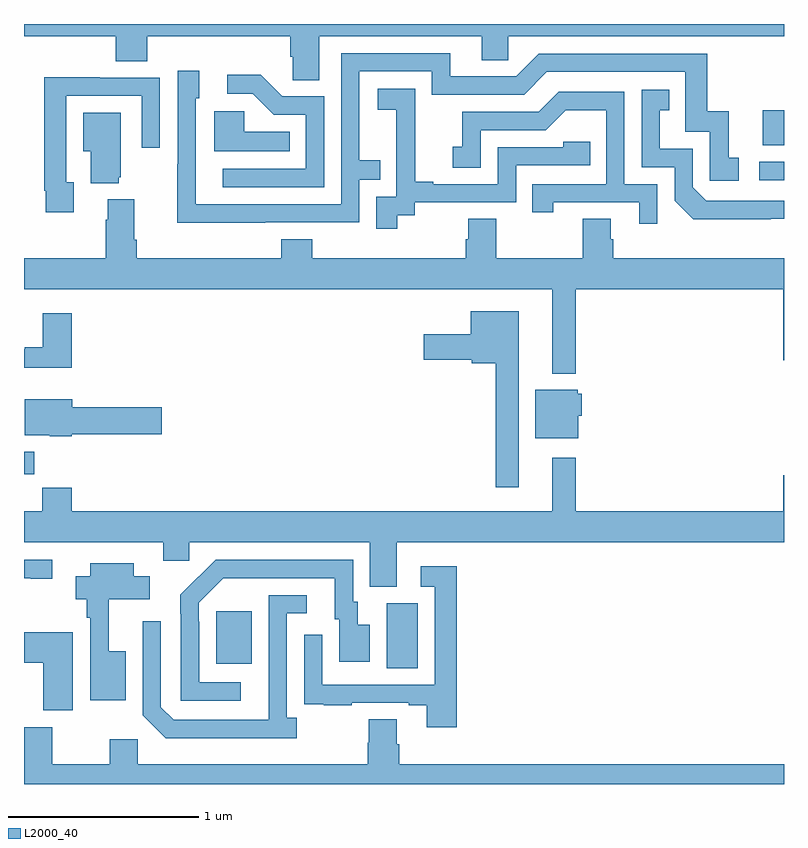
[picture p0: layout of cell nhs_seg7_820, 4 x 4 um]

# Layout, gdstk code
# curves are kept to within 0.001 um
import gdstk
lib = gdstk.Library(unit=1e-6, precision=1e-09)
def R(c, l, rs):  # rectangles x0, y0, x1, y1
    for r in rs: c.add(gdstk.rectangle(r[:2], r[2:], *l))
def P(c, l, *ps):  # polygons
    for p in ps: c.add(gdstk.Polygon(p, *l))
L2000_40 = (2000, 40)

nhs_seg7_820 = lib.new_cell('nhs_seg7_820')
R(nhs_seg7_820, L2000_40, [(174.908,1010.608,175.072,1010.952), (174.011,1010.633,174.199,1010.908), (173,1011.63,173.054,1011.748), (176.871,1013.178,177,1013.274), (176.888,1013.363,177,1013.545)])
P(nhs_seg7_820, L2000_40, [(174.553,1013.936),(175.409,1013.936),(175.409,1013.809),(175.548,1013.809),(175.548,1013.936),(177,1013.936),(177,1014),(173,1014),(173,1013.936),(173.483,1013.936),(173.483,1013.803),(173.648,1013.803),(173.648,1013.936),(174.401,1013.936),(174.401,1013.827),(174.414,1013.827),(174.414,1013.704),(174.553,1013.704)],
  [(174.269,1012.956),(174.765,1012.956),(174.765,1013.181),(174.875,1013.181),(174.875,1013.282),(174.765,1013.282),(174.765,1013.751),(175.146,1013.751),(175.146,1013.628),(175.632,1013.628),(175.752,1013.748),(176.481,1013.748),(176.481,1013.433),(176.61,1013.433),(176.61,1013.175),(176.761,1013.175),(176.761,1013.295),(176.708,1013.295),(176.708,1013.542),(176.597,1013.542),(176.597,1013.844),(175.71,1013.844),(175.59,1013.724),(175.243,1013.724),(175.243,1013.847),(174.669,1013.847),(174.669,1013.052),(173.905,1013.052),(173.904,1013.61),(173.923,1013.61),(173.923,1013.755),(173.808,1013.755),(173.808,1013.261),(173.806,1013.261),(173.806,1012.955)],
  [(174.579,1013.619),(174.36,1013.619),(174.247,1013.732),(174.069,1013.732),(174.069,1013.634),(174.203,1013.634),(174.314,1013.523),(174.483,1013.523),(174.483,1013.238),(174.045,1013.238),(174.045,1013.142),(174.579,1013.142)],
  [(173.263,1013.166),(173.223,1013.166),(173.223,1013.622),(173.619,1013.622),(173.619,1013.349),(173.715,1013.349),(173.715,1013.718),(173.399,1013.718),(173.399,1013.72),(173.107,1013.72),(173.107,1013.122),(173.115,1013.122),(173.115,1013.01),(173.263,1013.01)],
  [(174.964,1012.993),(175.056,1012.993),(175.056,1013.061),(175.59,1013.061),(175.59,1013.256),(175.979,1013.256),(175.979,1013.379),(175.839,1013.379),(175.839,1013.352),(175.494,1013.352),(175.494,1013.157),(175.153,1013.157),(175.153,1013.17),(175.058,1013.17),(175.058,1013.453),(175.059,1013.453),(175.059,1013.659),(174.861,1013.659),(174.861,1013.549),(174.959,1013.549),(174.959,1013.321),(174.96,1013.321),(174.96,1013.091),(174.855,1013.091),(174.855,1012.923),(174.964,1012.923)],
  [(176.93,1012.974),(177,1012.974),(177,1013.07),(176.592,1013.07),(176.52,1013.142),(176.52,1013.343),(176.347,1013.343),(176.347,1013.547),(176.396,1013.547),(176.396,1013.653),(176.25,1013.653),(176.25,1013.247),(176.424,1013.247),(176.424,1013.07),(176.522,1012.973)],
  [(176.334,1013.157),(176.16,1013.157),(176.16,1013.643),(175.814,1013.643),(175.709,1013.538),(175.306,1013.538),(175.306,1013.353),(175.257,1013.353),(175.257,1013.244),(175.404,1013.244),(175.404,1013.442),(175.746,1013.442),(175.85,1013.546),(176.064,1013.546),(176.064,1013.157),(175.675,1013.157),(175.675,1013.01),(175.786,1013.01),(175.786,1013.061),(176.237,1013.061),(176.237,1012.95),(176.334,1012.95)],
  [(174.398,1013.434),(174.159,1013.434),(174.159,1013.542),(174.002,1013.542),(174.002,1013.33),(174.398,1013.33)],
  [(173.498,1013.193),(173.509,1013.193),(173.509,1013.533),(173.312,1013.533),(173.312,1013.33),(173.351,1013.33),(173.351,1013.162),(173.498,1013.162)],
  [(174.353,1012.867),(174.353,1012.768),(173.594,1012.768),(173.594,1012.864),(173.581,1012.864),(173.581,1013.077),(173.441,1013.077),(173.441,1012.97),(173.429,1012.97),(173.429,1012.768),(173,1012.768),(173,1012.604),(175.781,1012.604),(175.781,1012.16),(175.903,1012.16),(175.903,1012.604),(176.996,1012.604),(176.996,1012.23),(177,1012.23),(177,1012.768),(176.102,1012.768),(176.102,1012.866),(176.089,1012.866),(176.089,1012.976),(175.942,1012.976),(175.942,1012.768),(175.485,1012.768),(175.485,1012.976),(175.337,1012.976),(175.337,1012.866),(175.325,1012.866),(175.325,1012.768),(174.518,1012.768),(174.518,1012.867)],
  [(175.603,1012.489),(175.352,1012.489),(175.352,1012.366),(175.104,1012.366),(175.104,1012.232),(175.356,1012.232),(175.356,1012.214),(175.482,1012.214),(175.482,1011.561),(175.603,1011.561)],
  [(173.252,1012.477),(173.099,1012.477),(173.099,1012.3),(173.003,1012.3),(173.003,1012.287),(173,1012.287),(173,1012.19),(173.252,1012.19)],
  [(175.918,1011.939),(175.936,1011.939),(175.936,1012.053),(175.914,1012.053),(175.914,1012.075),(175.691,1012.075),(175.691,1011.821),(175.918,1011.821)],
  [(173.25,1011.841),(173.725,1011.841),(173.725,1011.983),(173.254,1011.983),(173.254,1012.024),(173.003,1012.024),(173.003,1011.836),(173.136,1011.836),(173.136,1011.83),(173.25,1011.83)],
  [(174.961,1011.272),(177,1011.272),(177,1011.625),(176.996,1011.625),(176.996,1011.436),(175.903,1011.436),(175.903,1011.718),(175.781,1011.718),(175.781,1011.436),(173.252,1011.436),(173.252,1011.56),(173.095,1011.56),(173.095,1011.436),(173,1011.436),(173,1011.272),(173.732,1011.272),(173.732,1011.174),(173.871,1011.174),(173.871,1011.272),(174.821,1011.272),(174.821,1011.037),(174.961,1011.037)],
  [(174.142,1010.535),(173.922,1010.535),(173.922,1010.855),(173.919,1010.855),(173.919,1010.955),(174.048,1011.084),(174.635,1011.084),(174.635,1010.868),(174.659,1010.868),(174.659,1010.643),(174.82,1010.643),(174.82,1010.839),(174.757,1010.839),(174.757,1010.958),(174.732,1010.958),(174.732,1011.18),(174.008,1011.18),(173.917,1011.089),(173.916,1011.09),(173.823,1010.996),(173.823,1010.897),(173.826,1010.897),(173.826,1010.439),(174.142,1010.439)],
  [(173.149,1011.18),(173,1011.18),(173,1011.084),(173.036,1011.084),(173.036,1011.079),(173.149,1011.079)],
  [(173.536,1010.698),(173.447,1010.698),(173.447,1010.972),(173.662,1010.972),(173.662,1011.094),(173.578,1011.094),(173.578,1011.163),(173.348,1011.163),(173.348,1011.094),(173.273,1011.094),(173.273,1010.972),(173.329,1010.972),(173.329,1010.876),(173.349,1010.876),(173.349,1010.441),(173.536,1010.441)],
  [(175.277,1011.145),(175.089,1011.145),(175.089,1011.039),(175.161,1011.039),(175.161,1010.523),(174.57,1010.523),(174.57,1010.785),(174.474,1010.785),(174.474,1010.53),(174.475,1010.53),(174.475,1010.421),(174.577,1010.421),(174.577,1010.415),(174.725,1010.415),(174.725,1010.427),(175.025,1010.427),(175.025,1010.415),(175.121,1010.415),(175.121,1010.298),(175.277,1010.298)],
  [(174.436,1010.35),(174.384,1010.35),(174.384,1010.898),(174.487,1010.898),(174.487,1010.994),(174.288,1010.994),(174.287,1010.337),(173.787,1010.337),(173.721,1010.403),(173.721,1010.857),(173.625,1010.857),(173.625,1010.361),(173.746,1010.24),(174.436,1010.24)],
  [(173.257,1010.8),(173,1010.8),(173,1010.638),(173.102,1010.638),(173.102,1010.387),(173.257,1010.387)],
  [(177,1010.104),(174.974,1010.104),(174.974,1010.21),(174.961,1010.21),(174.961,1010.342),(174.814,1010.342),(174.814,1010.217),(174.809,1010.217),(174.809,1010.104),(173.598,1010.104),(173.598,1010.236),(173.452,1010.236),(173.452,1010.104),(173.148,1010.104),(173.148,1010.299),(173,1010.299),(173,1010),(177,1010)])

lib.write_gds('nhs_seg7_820.gds')
